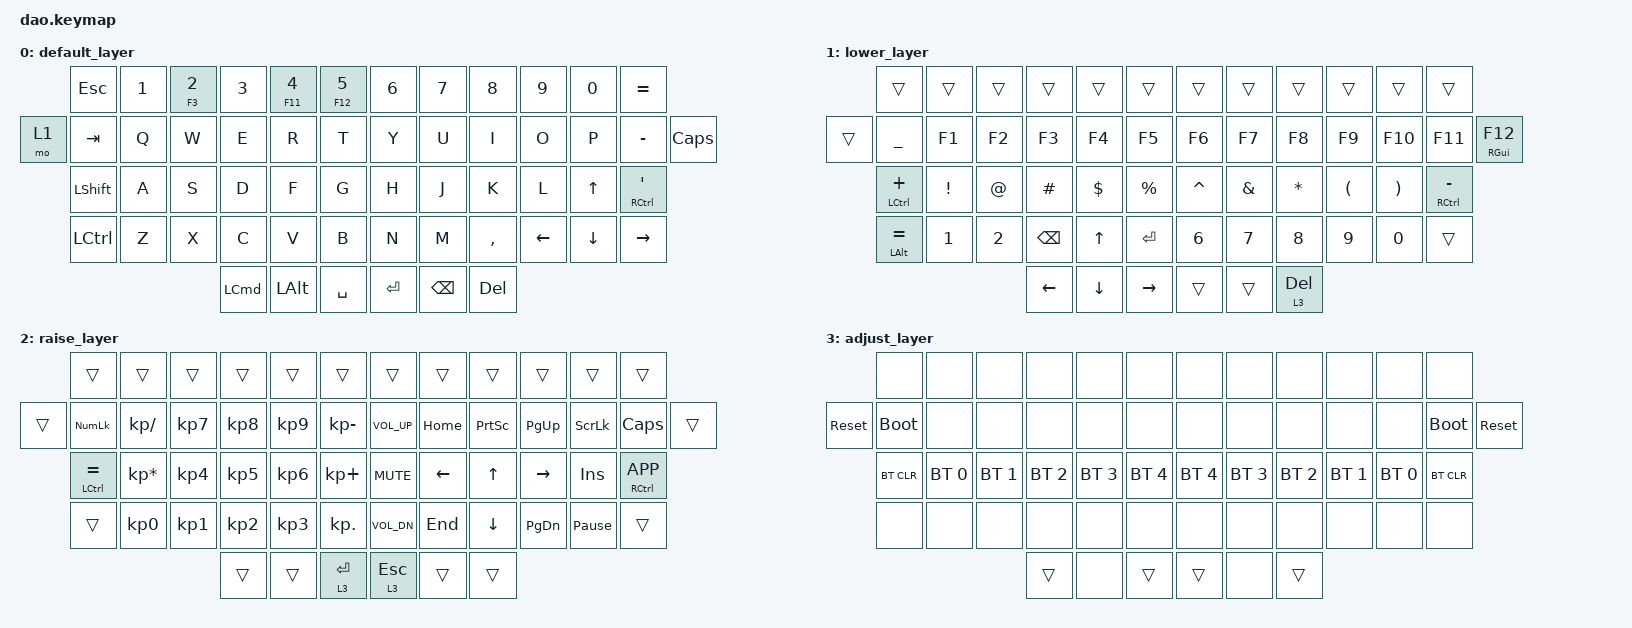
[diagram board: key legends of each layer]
/*
 * Copyright (c) 2021 Rafael Yumagulov
 *
 * SPDX-License-Identifier: MIT
 */

#include <behaviors.dtsi>
#include <dt-bindings/zmk/bt.h>
#include <dt-bindings/zmk/keys.h>

#define DEF 0
#define LWR 1
#define RSE 2
#define ADJ 3

&lt { quick_tap_ms = <200>; };

&mt { quick_tap_ms = <200>; };

/ {
    combos { compatible = "zmk,combos"; };

    keymap {
        compatible = "zmk,keymap";

        default_layer {
            // -----------------------------------------------------------------------------------------
            // |  GUI |   ~  |  Q  |  W  |  E  |  R  |  T  |   |  Y  |  U   |  I  |  O  |  P  |  [   | GUI/] |
            //        | CTRL |  A  |  S  |  D  |  F  |  G  |   |  H  |  J   |  K  |  L  |  ;  |CTRL/'|
            //        | LALT |  Z  |  X  |  C  |  V  |  B  |   |  N  |  M   |  ,  |  .  |  /  | RALT |
            //                           | RSE | SPC | LWR |   | LWR | BKSP | RSE |

            bindings = <
       &kp ESC           &kp N1  &mt F3 NUMBER_2  &kp N3            &mt F11 NUMBER_4  &mt F12 N5    &kp N6     &kp N7         &kp N8     &kp N9          &kp N0          &kp EQUAL
&mo 1  &kp TAB           &kp Q   &kp W            &kp E             &kp R             &kp T         &kp Y      &kp U          &kp I      &kp O           &kp P           &kp MINUS        &kp CAPSLOCK
       &kp LEFT_SHIFT    &kp A   &kp S            &kp D             &kp F             &kp G         &kp H      &kp J          &kp K      &kp L           &kp UP_ARROW    &mt RCTRL SQT
       &kp LEFT_CONTROL  &kp Z   &kp X            &kp C             &kp V             &kp B         &kp N      &kp M          &kp COMMA  &kp LEFT_ARROW  &kp DOWN_ARROW  &kp RIGHT_ARROW
                                                  &kp LEFT_COMMAND  &kp LEFT_ALT      &kp SPACE     &kp ENTER  &kp BACKSPACE  &kp DEL
            >;
        };

        lower_layer {
            // -----------------------------------------------------------------------------------------
            // |     |  _  |  F1 |  F2 |  F3 |  F4 |  F5 |   |  F6 |  F7 |  F8 |  F9 | F10 | F11 | F12 |
            //       |  +  |  !  |  @  |  #  |  $  |  %  |   |  ^  |  &  |  *  |  (  |  )  |  -  |
            //       |  =  |  1  |  2  |  3  |  4  |  5  |   |  6  |  7  |  8  |  9  |  0  |     |
            //                    | GUI |     | SPC |   | ENT |     | ALT |

            bindings = <
        &trans          &trans    &trans  &trans          &trans          &trans       &trans     &trans    &trans     &trans    &trans    &trans
&trans  &kp UNDER       &kp F1    &kp F2  &kp F3          &kp F4          &kp F5       &kp F6     &kp F7    &kp F8     &kp F9    &kp F10   &kp F11          &mt RGUI F12
        &mt LCTRL PLUS  &kp EXCL  &kp AT  &kp HASH        &kp DLLR        &kp PRCNT    &kp CARET  &kp AMPS  &kp STAR   &kp LPAR  &kp RPAR  &mt RCTRL MINUS
        &mt LALT EQUAL  &kp N1    &kp N2  &kp BACKSPACE   &kp UP_ARROW    &kp ENTER    &kp N6     &kp N7    &kp N8     &kp N9    &kp N0    &trans
                                          &kp LEFT_ARROW  &kp DOWN_ARROW  &kp RIGHT    &trans     &trans    &lt 3 DEL
            >;
        };

        raise_layer {
            // -----------------------------------------------------------------------------------------
            // |     | NMLK |  /  |  7  |  8  |  9  |  -  |   | VOLU| HOME| PRSC| PGUP| SCLK| CLCK|     |
            //       | CTRL |  *  |  4  |  5  |  6  |  +  |   | MUT | LEFT|  UP | RGHT| INS | APP |
            //       |      |  0  |  1  |  2  |  3  |  .  |   | VOLD| END | DOWN| PGDN| PAUS|     |
            //                          |     |     | ADJ |   | ADJ |     |     |

            bindings = <
        &trans           &trans           &trans     &trans     &trans     &trans          &trans        &trans    &trans     &trans     &trans           &trans
&trans  &kp KP_NUM       &kp KP_SLASH     &kp KP_N7  &kp KP_N8  &kp KP_N9  &kp KP_MINUS    &kp C_VOL_UP  &kp HOME  &kp PSCRN  &kp PG_UP  &kp SLCK         &kp CAPS         &trans
        &mt LCTRL EQUAL  &kp KP_MULTIPLY  &kp KP_N4  &kp KP_N5  &kp KP_N6  &kp KP_PLUS     &kp C_MUTE    &kp LEFT  &kp UP     &kp RIGHT  &kp INS          &mt RCTRL K_APP
        &trans           &kp KP_N0        &kp KP_N1  &kp KP_N2  &kp KP_N3  &kp KP_DOT      &kp C_VOL_DN  &kp END   &kp DOWN   &kp PG_DN  &kp PAUSE_BREAK  &trans
                                                     &trans     &trans     &lt 3 RET       &lt 3 ESC     &trans    &trans
            >;
        };

        adjust_layer {
            // -----------------------------------------------------------------------------------------
            // | RST | BLDR |     |     |     |     |     |   |     |     |     |     |     | BLDR | RST |
            //       | BTCLR| BT0 | BT1 | BT2 | BT3 | BT4 |   | BT4 | BT3 | BT2 | BT1 | BT0 | BTCLR|
            //       |      |     |     |     |     |     |   |     |     |     |     |     |      |
            //                          |     |     |     |   |     |     |     |

            bindings = <
            &none        &none         &none         &none         &none         &none           &none         &none         &none         &none         &none         &none
&sys_reset  &bootloader  &none         &none         &none         &none         &none           &none         &none         &none         &none         &none         &bootloader  &sys_reset
            &bt BT_CLR   &bt BT_SEL 0  &bt BT_SEL 1  &bt BT_SEL 2  &bt BT_SEL 3  &bt BT_SEL 4    &bt BT_SEL 4  &bt BT_SEL 3  &bt BT_SEL 2  &bt BT_SEL 1  &bt BT_SEL 0  &bt BT_CLR
            &none        &none         &none         &none         &none         &none           &none         &none         &none         &none         &none         &none
                                                     &trans        &none         &trans          &trans        &none         &trans
            >;
        };
    };
};
